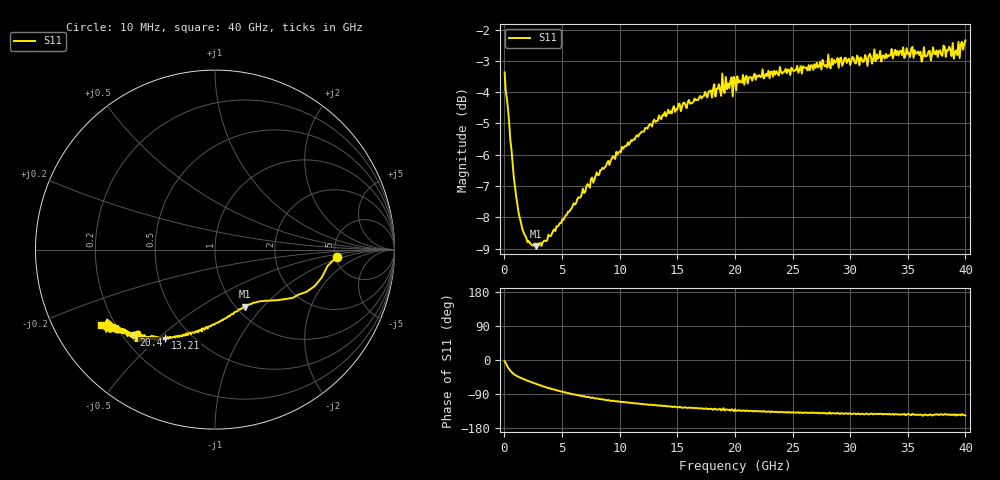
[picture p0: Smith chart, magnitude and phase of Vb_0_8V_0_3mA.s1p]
!Agilent Technologies,N5247A,US51170167,A.09.90.10
!Agilent N5247A: A.09.90.10
!Date: Tuesday, November 22, 2016 15:30:36
!Correction: S22(Full 1 Port(2))
!S1P File: Measurement: S22:
# Hz S  RI  R 50
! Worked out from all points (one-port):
!   401 points, 10 MHz to 40 GHz, reference 50 ohm
!   lowest |S11| = -8.9 dB at 2.709 GHz (marker M1), VSWR 2.12, Z = 54.7 - j39.8 ohm
!   |S11| at or under -10 dB: nowhere
!   S11 on the Smith chart (normalised r, x): 10 MHz: 5.10, -0.77; 13.21 GHz: 0.36, -0.53; 20.4 GHz: 0.24, -0.41; 40 GHz: 0.15, -0.29
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1e7  0.6774 -0.0407
2.0995e8  0.5955 -0.154
4.099e8  0.5108 -0.2348
5.09875e8  0.4646 -0.2514
8.098e8  0.3673 -0.2789
1.109725e9  0.3074 -0.2842
1.80955e9  0.2272 -0.2945
2.709325e9  0.166 -0.3173
5.00875e9  0.0441 -0.3928
7.40815e9  -0.0695 -0.4385
1.00075e10  -0.1711 -0.4781
1.32067e10  -0.2788 -0.4946
1.500625e10  -0.337 -0.4876
1.860535e10  -0.4226 -0.4932
1.910522e10  -0.4335 -0.4557
2.0005e10  -0.4273 -0.503
2.04049e10  -0.4556 -0.4761
2.500375e10  -0.5075 -0.4601
3.00025e10  -0.5441 -0.4365
3.100225e10  -0.5591 -0.4428
3.190202e10  -0.55 -0.4343
3.500125e10  -0.5792 -0.4384
3.56011e10  -0.6007 -0.4255
3.650088e10  -0.5796 -0.427
3.80005e10  -0.5868 -0.4194
3.900025e10  -0.5707 -0.4285
3.970008e10  -0.6049 -0.4587
4e10  -0.6366 -0.4209
